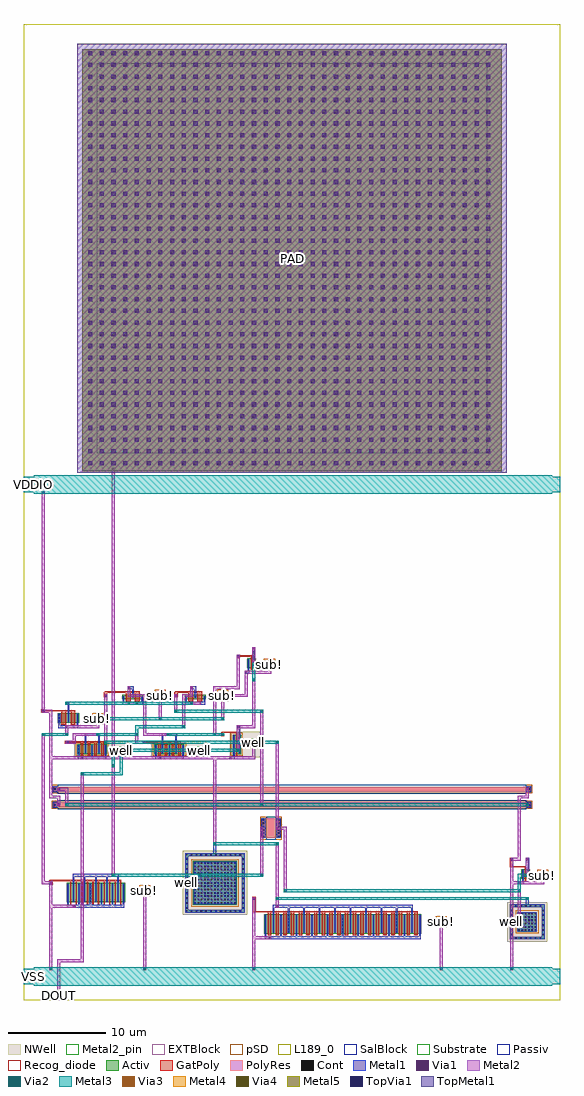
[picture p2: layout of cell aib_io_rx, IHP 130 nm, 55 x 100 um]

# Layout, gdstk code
import gdstk
lib = gdstk.Library(unit=1e-6, precision=1e-09)
def R(c, l, rs):  # rectangles x0, y0, x1, y1
    for r in rs: c.add(gdstk.rectangle(r[:2], r[2:], *l))
def A(c, l, x, y, w, h, nx, ny, dx, dy):  # array of equal rectangles
    R(c, l, [(x+i*dx, y+j*dy, x+i*dx+w, y+j*dy+h) for i in range(nx) for j in range(ny)])
Activ = (1, 0)
GatPoly = (5, 0)
Cont = (6, 0)
Metal1 = (8, 0)
Passiv = (9, 0)
Metal2 = (10, 0)
Metal2_pin = (10, 2)
pSD = (14, 0)
Via1 = (19, 0)
SalBlock = (28, 0)
Via2 = (29, 0)
Metal3 = (30, 0)
NWell = (31, 0)
Substrate = (40, 0)
Via3 = (49, 0)
Metal4 = (50, 0)
Via4 = (66, 0)
Metal5 = (67, 0)
Recog_diode = (99, 31)
EXTBlock = (111, 0)
TopVia1 = (125, 0)
TopMetal1 = (126, 0)
PolyRes = (128, 0)
L189_0 = (189, 0)

aib_io_rx = lib.new_cell('aib_io_rx')
R(aib_io_rx, Activ, [(49.8,6.2,53.4,6.5), (49.8,6.5,50.1,9.5), (53.1,6.5,53.4,9.5), (24.65,6.8,40.75,8.8), (50.6,7,52.6,9), (42.41,7.61,43.19,8.39), (16.55,8.95,22.65,9.25), (16.55,9.25,16.85,14.75), (22.35,9.25,22.65,14.75), (49.8,9.5,53.4,9.8), (17.35,9.75,21.85,14.25), (4.4,10,10.4,12), (12.01,10.81,12.79,11.59), (51,12.4,51.87,13.4), (52.81,12.41,53.59,13.19), (16.55,14.75,22.65,15.05), (5.5,25.2,8.56,26.2), (13.41,25.2,16.47,26.2), (21.41,25.2,22.28,27.2), (9.61,25.21,10.39,25.99), (17.61,25.21,18.39,25.99), (23.21,26.01,23.99,26.79), (3.5,28.4,5.68,29.4), (7.21,28.41,7.99,29.19), (10.1,30.8,12.28,31.3), (16.5,30.8,18.68,31.3), (13.61,30.81,14.39,31.59), (20.01,30.81,20.79,31.59), (22.9,34,23.77,35), (24.81,34.01,25.59,34.79)])
A(aib_io_rx, GatPoly, 25.02, 6.62, 0.35, 2.49, 20, 1, 0.79, 0)
A(aib_io_rx, GatPoly, 4.77, 9.82, 0.13, 2.49, 10, 1, 0.57, 0)
A(aib_io_rx, GatPoly, 5.87, 25.02, 0.25, 1.49, 4, 1, 0.69, 0)
A(aib_io_rx, GatPoly, 13.78, 25.02, 0.25, 1.49, 4, 1, 0.69, 0)
R(aib_io_rx, GatPoly, [(23.535,8.98,25.021,9.11), (25.02,8.98,40.38,9.11), (23.43,9.045,23.77,10.4), (23.43,10.23,23.77,10.57), (2.63,11.83,2.97,12.17), (2.63,12,2.97,12.245), (2.735,12.18,4.771,12.31), (4.77,12.18,10.03,12.31), (51.37,12.22,51.5,13.71), (49.935,13.58,51.371,13.71), (51.37,13.58,51.5,13.71), (49.83,13.645,50.17,14.4), (49.83,14.23,50.17,14.57), (24.42,16.6,26.28,18.6), (3.07,19.75,51.93,20.25), (3.07,21.35,51.93,21.85), (21.78,25.02,21.91,27.51), (4.23,26.23,4.57,26.57), (12.23,26.23,12.57,26.57), (4.335,26.38,5.871,26.51), (5.87,26.38,8.19,26.51), (12.335,26.38,13.781,26.51), (13.78,26.38,16.1,26.51), (4.23,26.4,4.57,26.445), (12.23,26.4,12.57,26.445), (20.23,27.03,20.57,27.37), (20.23,27.2,20.57,27.445), (20.335,27.38,21.781,27.51), (21.78,27.38,21.91,27.51), (3.87,28.22,4.37,29.71), (4.81,28.22,5.31,29.71), (1.83,29.43,2.17,29.77), (1.935,29.58,3.871,29.71), (3.87,29.58,5.31,29.71), (1.83,29.6,2.17,29.645), (10.47,30.62,10.97,31.61), (11.41,30.62,11.91,31.61), (16.87,30.62,17.37,31.61), (17.81,30.62,18.31,31.61), (8.23,31.03,8.57,31.37), (15.43,31.03,15.77,31.37), (8.23,31.2,8.57,31.545), (15.43,31.2,15.77,31.545), (8.335,31.48,10.471,31.61), (10.47,31.48,11.91,31.61), (15.535,31.48,16.871,31.61), (16.87,31.48,18.31,31.61), (23.27,33.82,23.4,35.31), (21.83,35.03,22.17,35.37), (21.935,35.18,23.271,35.31), (23.27,35.18,23.4,35.31), (21.83,35.2,22.17,35.245)])
A(aib_io_rx, Cont, 49.87, 6.27, 0.16, 0.16, 7, 2, 0.5, 3.3)
A(aib_io_rx, Cont, 49.87, 6.61, 0.16, 0.16, 1, 6, 0, 0.5)
A(aib_io_rx, Cont, 53.17, 6.61, 0.16, 0.16, 1, 6, 0, 0.5)
A(aib_io_rx, Cont, 24.72, 6.87, 0.16, 0.16, 21, 6, 0.79, 0.34)
A(aib_io_rx, Cont, 50.67, 7.07, 0.16, 0.16, 6, 6, 0.34, 0.34)
A(aib_io_rx, Cont, 16.62, 9.02, 0.16, 0.16, 12, 2, 0.5, 5.8)
A(aib_io_rx, Cont, 16.62, 9.36, 0.16, 0.16, 1, 11, 0, 0.5)
A(aib_io_rx, Cont, 22.42, 9.36, 0.16, 0.16, 1, 11, 0, 0.5)
A(aib_io_rx, Cont, 17.48, 9.88, 0.16, 0.16, 13, 13, 0.34, 0.34)
A(aib_io_rx, Cont, 4.47, 10.07, 0.16, 0.16, 11, 6, 0.57, 0.34)
A(aib_io_rx, Cont, 51.07, 12.48, 0.16, 0.16, 1, 3, 0, 0.34)
A(aib_io_rx, Cont, 51.64, 12.48, 0.16, 0.16, 1, 3, 0, 0.34)
A(aib_io_rx, Cont, 24.49, 16.67, 0.16, 0.16, 1, 6, 0, 0.34)
A(aib_io_rx, Cont, 26.05, 16.67, 0.16, 0.16, 1, 6, 0, 0.34)
A(aib_io_rx, Cont, 21.48, 25.27, 0.16, 0.16, 1, 6, 0, 0.34)
A(aib_io_rx, Cont, 22.05, 25.27, 0.16, 0.16, 1, 6, 0, 0.34)
A(aib_io_rx, Cont, 5.57, 25.28, 0.16, 0.16, 5, 3, 0.69, 0.34)
A(aib_io_rx, Cont, 13.48, 25.28, 0.16, 0.16, 5, 3, 0.69, 0.34)
A(aib_io_rx, Cont, 3.57, 28.48, 0.16, 0.16, 3, 3, 0.94, 0.34)
A(aib_io_rx, Cont, 10.17, 30.97, 0.16, 0.16, 3, 1, 0.94, 0)
A(aib_io_rx, Cont, 16.57, 30.97, 0.16, 0.16, 3, 1, 0.94, 0)
A(aib_io_rx, Cont, 22.97, 34.08, 0.16, 0.16, 1, 3, 0, 0.34)
A(aib_io_rx, Cont, 23.54, 34.08, 0.16, 0.16, 1, 3, 0, 0.34)
R(aib_io_rx, Cont, [(42.55,7.75,42.71,7.91), (42.89,7.75,43.05,7.91), (42.55,8.09,42.71,8.25), (42.89,8.09,43.05,8.25), (23.52,10.32,23.68,10.48), (12.15,10.95,12.31,11.11), (12.49,10.95,12.65,11.11), (12.15,11.29,12.31,11.45), (12.49,11.29,12.65,11.45), (2.72,11.92,2.88,12.08), (52.95,12.55,53.11,12.71), (53.29,12.55,53.45,12.71), (52.95,12.89,53.11,13.05), (53.29,12.89,53.45,13.05), (49.92,14.32,50.08,14.48), (3.14,19.92,3.3,20.08), (51.7,19.92,51.86,20.08), (3.14,21.52,3.3,21.68), (51.7,21.52,51.86,21.68), (9.75,25.35,9.91,25.51), (10.09,25.35,10.25,25.51), (17.75,25.35,17.91,25.51), (18.09,25.35,18.25,25.51), (9.75,25.69,9.91,25.85), (10.09,25.69,10.25,25.85), (17.75,25.69,17.91,25.85), (18.09,25.69,18.25,25.85), (23.35,26.15,23.51,26.31), (23.69,26.15,23.85,26.31), (4.32,26.32,4.48,26.48), (12.32,26.32,12.48,26.48), (23.35,26.49,23.51,26.65), (23.69,26.49,23.85,26.65), (20.32,27.12,20.48,27.28), (7.35,28.55,7.51,28.71), (7.69,28.55,7.85,28.71), (7.35,28.89,7.51,29.05), (7.69,28.89,7.85,29.05), (1.92,29.52,2.08,29.68), (13.75,30.95,13.91,31.11), (14.09,30.95,14.25,31.11), (20.15,30.95,20.31,31.11), (20.49,30.95,20.65,31.11), (8.32,31.12,8.48,31.28), (15.52,31.12,15.68,31.28), (13.75,31.29,13.91,31.45), (14.09,31.29,14.25,31.45), (20.15,31.29,20.31,31.45), (20.49,31.29,20.65,31.45), (24.95,34.15,25.11,34.31), (25.29,34.15,25.45,34.31), (24.95,34.49,25.11,34.65), (25.29,34.49,25.45,34.65), (21.92,35.12,22.08,35.28)])
A(aib_io_rx, Metal1, 24.72, 6.25, 0.16, 2.48, 11, 1, 1.58, 0)
A(aib_io_rx, Metal1, 25.51, 6.87, 0.16, 2.88, 10, 1, 1.58, 0)
A(aib_io_rx, Metal1, 4.47, 9.45, 0.16, 2.48, 6, 1, 1.14, 0)
A(aib_io_rx, Metal1, 5.04, 10.07, 0.16, 2.88, 5, 1, 1.14, 0)
A(aib_io_rx, Metal1, 5.57, 24.65, 0.16, 1.47, 3, 1, 1.38, 0)
A(aib_io_rx, Metal1, 13.48, 24.65, 0.16, 1.47, 3, 1, 1.38, 0)
R(aib_io_rx, Metal1, [(49.8,6.2,53.4,6.5), (24.72,6.25,40.68,6.55), (49.8,6.5,50.1,9.5), (53.1,6.5,53.4,9.5), (50.6,7,52.6,9), (42.55,7.75,43.05,8.25), (16.55,8.95,22.65,9.25), (16.55,9.25,16.85,14.75), (22.35,9.25,22.65,14.75), (4.47,9.45,10.33,9.75), (25.51,9.45,39.89,9.75), (49.8,9.5,53.4,9.8), (51.45,9.5,51.75,10.55), (17.41,9.81,21.79,14.19), (23.45,10.25,23.75,10.55), (12.15,10.95,12.65,11.45), (2.65,11.85,2.95,12.15), (50.65,11.85,51.23,12.15), (51.07,11.85,51.23,13.32), (51.64,12.48,51.8,14.55), (52.95,12.55,53.45,13.05), (5.04,12.65,9.76,12.95), (49.85,14.25,50.15,14.55), (51.45,14.25,51.8,14.55), (16.55,14.75,22.65,15.05), (19.45,14.75,19.75,16.15), (24.34,16.6,24.8,18.6), (25.9,16.6,26.36,18.6), (24.25,17.45,24.8,17.75), (25.85,17.45,26.36,17.75), (2.99,19.7,3.45,20.3), (51.55,19.7,52.01,20.3), (2.99,19.85,3.75,20.15), (51.45,19.85,52.01,20.15), (2.99,21.3,3.45,21.9), (51.55,21.3,52.01,21.9), (2.99,21.45,3.75,21.75), (51.45,21.45,52.01,21.75), (5.57,24.65,8.49,24.95), (13.48,24.65,16.4,24.95), (21.05,24.65,21.64,24.95), (21.48,24.65,21.64,27.13), (22.05,25.27,22.21,28.15), (6.26,25.28,6.42,27.35), (7.64,25.28,7.8,27.35), (14.17,25.28,14.33,27.35), (15.55,25.28,15.71,27.35), (9.75,25.35,10.25,25.85), (17.75,25.35,18.25,25.85), (23.35,26.15,23.85,26.65), (4.25,26.25,4.55,26.55), (12.25,26.25,12.55,26.55), (6.26,27.05,7.8,27.35), (14.17,27.05,15.71,27.35), (20.25,27.05,20.55,27.35), (3.57,27.85,3.73,29.32), (3.57,27.85,5.61,28.15), (5.45,27.85,5.61,29.32), (21.85,27.85,22.21,28.15), (4.51,28.48,4.67,30.55), (7.35,28.55,7.85,29.05), (1.85,29.45,2.15,29.75), (4.25,30.25,4.67,30.55), (10.17,30.25,12.21,30.55), (10.17,30.25,10.33,31.13), (12.05,30.25,12.21,31.13), (16.57,30.25,18.61,30.55), (16.57,30.25,16.73,31.13), (18.45,30.25,18.61,31.13), (13.75,30.95,14.25,31.45), (20.15,30.95,20.65,31.45), (11.11,30.97,11.27,32.15), (17.51,30.97,17.67,32.15), (8.25,31.05,8.55,31.35), (15.45,31.05,15.75,31.35), (10.65,31.85,11.27,32.15), (17.05,31.85,17.67,32.15), (22.65,33.45,23.13,33.75), (22.97,33.45,23.13,34.92), (23.54,34.08,23.7,36.15), (24.95,34.15,25.45,34.65), (21.85,35.05,22.15,35.35), (23.45,35.85,23.75,36.15)])
R(aib_io_rx, Passiv, [(7.5,56,47.5,96)])
A(aib_io_rx, Metal2, 3.45, 1.45, 0.3, 1.1, 1, 3, 0, 0.8)
A(aib_io_rx, Metal2, 2.65, 3.05, 0.3, 1.1, 1, 11, 0, 0.8)
A(aib_io_rx, Metal2, 12.25, 3.05, 0.3, 1.1, 1, 10, 0, 0.8)
A(aib_io_rx, Metal2, 23.45, 3.05, 0.3, 1.1, 1, 9, 0, 0.8)
A(aib_io_rx, Metal2, 42.65, 3.05, 0.3, 1.1, 1, 6, 0, 0.8)
A(aib_io_rx, Metal2, 49.85, 3.05, 0.3, 1.1, 1, 14, 0, 0.8)
A(aib_io_rx, Metal2, 3.45, 3.85, 1.1, 0.3, 3, 1, 0.8, 0)
A(aib_io_rx, Metal2, 5.85, 3.85, 0.3, 1.1, 1, 21, 0, 0.8)
A(aib_io_rx, Metal2, 50.65, 8.65, 0.3, 1.1, 1, 3, 0, 0.8)
A(aib_io_rx, Metal2, 2.65, 9.45, 1.1, 0.3, 3, 1, 0.8, 0)
A(aib_io_rx, Metal2, 25.85, 9.45, 0.3, 1.1, 1, 8, 0, 0.8)
A(aib_io_rx, Metal2, 26.65, 11.05, 0.3, 1.1, 1, 8, 0, 0.8)
A(aib_io_rx, Metal2, 1.85, 11.85, 0.3, 1.1, 1, 19, 0, 0.8)
A(aib_io_rx, Metal2, 49.85, 11.85, 1.1, 0.3, 4, 1, 0.8, 0)
A(aib_io_rx, Metal2, 9.05, 12.65, 0.3, 1.1, 1, 11, 0, 0.8)
A(aib_io_rx, Metal2, 24.25, 12.65, 0.3, 1.1, 1, 6, 0, 0.8)
A(aib_io_rx, Metal2, 50.65, 14.25, 0.3, 1.1, 1, 8, 0, 0.8)
A(aib_io_rx, Metal2, 19.45, 15.85, 0.3, 1.1, 1, 11, 0, 0.8)
A(aib_io_rx, Metal2, 25.85, 17.45, 0.3, 1.1, 1, 11, 0, 0.8)
A(aib_io_rx, Metal2, 24.25, 19.85, 0.3, 1.1, 1, 9, 0, 0.8)
A(aib_io_rx, Metal2, 2.65, 20.65, 0.3, 1.1, 3, 1, 1.6, 0)
A(aib_io_rx, Metal2, 2.65, 21.45, 0.3, 1.1, 3, 2, 3.2, 0.8)
A(aib_io_rx, Metal2, 2.65, 23.05, 0.3, 1.1, 1, 8, 0, 0.8)
A(aib_io_rx, Metal2, 2.65, 24.65, 1.1, 0.3, 26, 1, 0.8, 0)
A(aib_io_rx, Metal2, 9.05, 25.45, 0.3, 1.1, 1, 3, 0, 0.8)
A(aib_io_rx, Metal2, 4.25, 26.25, 0.3, 0.3, 3, 1, 4, 0)
A(aib_io_rx, Metal2, 5.05, 27.05, 1.1, 0.3, 3, 1, 0.8, 0)
A(aib_io_rx, Metal2, 12.25, 27.05, 1.1, 0.3, 3, 1, 0.8, 0)
A(aib_io_rx, Metal2, 12.25, 27.05, 0.3, 1.1, 1, 3, 0, 0.8)
A(aib_io_rx, Metal2, 19.45, 27.05, 0.3, 1.1, 3, 1, 2.4, 0)
A(aib_io_rx, Metal2, 4.25, 27.85, 1.1, 0.3, 4, 1, 0.8, 0)
A(aib_io_rx, Metal2, 7.45, 27.85, 0.3, 1.1, 3, 1, 0.8, 0)
A(aib_io_rx, Metal2, 16.25, 27.85, 0.3, 1.1, 1, 4, 0, 0.8)
A(aib_io_rx, Metal2, 19.45, 27.85, 0.3, 1.1, 1, 5, 0, 0.8)
A(aib_io_rx, Metal2, 23.45, 27.85, 0.3, 1.1, 1, 5, 0, 0.8)
A(aib_io_rx, Metal2, 7.45, 28.65, 0.3, 0.3, 3, 1, 6.4, 0)
A(aib_io_rx, Metal2, 8.25, 28.65, 0.3, 1.1, 1, 3, 0, 0.8)
A(aib_io_rx, Metal2, 9.05, 28.65, 0.3, 1.1, 1, 32, 0, 0.8)
A(aib_io_rx, Metal2, 20.25, 28.65, 0.3, 1.1, 1, 3, 0, 0.8)
A(aib_io_rx, Metal2, 1.85, 29.45, 0.3, 1.1, 1, 28, 0, 0.8)
A(aib_io_rx, Metal2, 12.25, 29.45, 0.3, 1.1, 3, 2, 1.6, 0.8)
A(aib_io_rx, Metal2, 20.25, 31.05, 1.1, 0.3, 3, 1, 0.8, 0)
A(aib_io_rx, Metal2, 19.45, 31.85, 1.1, 0.3, 3, 1, 0.8, 0)
A(aib_io_rx, Metal2, 21.85, 31.85, 0.3, 1.1, 3, 1, 0.8, 0)
A(aib_io_rx, Metal2, 21.85, 32.65, 0.3, 1.1, 1, 3, 0, 0.8)
A(aib_io_rx, Metal2, 23.45, 32.65, 0.3, 0.3, 1, 3, 0, 1.6)
A(aib_io_rx, Metal2, 22.65, 33.45, 1.1, 0.3, 3, 1, 0.8, 0)
R(aib_io_rx, Metal2, [(3.45,0,3.75,4.15), (2.65,3.05,2.95,3.35), (12.25,3.05,12.55,3.35), (23.45,3.05,23.75,3.35), (42.65,3.05,42.95,3.35), (49.85,3.05,50.15,3.35), (23.45,6.25,24.55,6.55), (24.25,6.25,25.35,6.55), (25.05,6.25,25.35,6.55), (42.65,7.85,42.95,8.15), (50.65,8.65,50.95,8.95), (5.05,9.45,5.35,9.75), (25.85,9.45,26.15,9.75), (23.45,10.25,23.75,10.55), (25.85,10.25,26.15,10.55), (51.45,10.25,51.75,10.55), (51.45,10.25,51.75,10.55), (12.25,11.05,12.55,11.35), (26.65,11.05,26.95,11.35), (50.65,11.05,50.95,11.35), (1.85,11.85,2.95,12.15), (2.65,11.85,2.95,12.15), (50.65,11.85,50.95,12.15), (53.05,11.85,53.35,12.95), (9.05,12.65,9.35,12.95), (9.05,12.65,9.35,12.95), (17.85,12.65,18.15,12.95), (17.85,12.65,18.15,12.95), (24.25,12.65,24.55,12.95), (51.45,12.65,51.75,12.95), (51.45,12.65,51.75,13.75), (53.05,12.65,53.35,12.95), (51.45,13.45,51.75,14.55), (49.85,14.25,50.95,14.55), (49.85,14.25,50.15,14.55), (51.45,14.25,51.75,14.55), (19.45,15.85,19.75,16.15), (19.45,15.85,19.75,16.15), (25.85,15.85,26.15,16.15), (24.25,17.45,24.55,17.75), (25.85,17.45,26.95,17.75), (25.85,17.45,26.15,17.75), (3.45,19.85,3.75,20.15), (3.45,19.85,3.75,20.95), (4.25,19.85,4.55,20.15), (4.25,19.85,4.55,20.95), (24.25,19.85,24.55,20.15), (51.45,19.85,51.75,20.15), (51.45,19.85,51.75,20.15), (2.65,20.65,3.75,20.95), (50.65,20.65,51.75,20.95), (51.45,20.65,51.75,21.75), (3.45,21.45,4.55,21.75), (3.45,21.45,3.75,21.75), (51.45,21.45,51.75,21.75), (5.85,23.05,6.15,23.35), (9.05,23.05,9.35,24.15), (9.05,23.85,9.35,24.15), (5.85,24.65,6.15,24.95), (9.85,24.65,10.15,25.75), (13.85,24.65,14.15,24.95), (17.85,24.65,18.15,25.75), (21.05,24.65,21.35,24.95), (23.45,24.65,23.75,25.75), (9.05,25.45,9.35,25.75), (9.85,25.45,10.15,25.75), (17.85,25.45,18.15,25.75), (21.85,25.45,22.15,25.75), (21.85,25.45,22.15,26.55), (23.45,25.45,23.75,26.55), (4.25,26.25,5.35,26.55), (5.05,26.25,5.35,27.35), (8.25,26.25,8.55,27.35), (11.45,26.25,12.55,26.55), (11.45,26.25,11.75,27.35), (21.85,26.25,22.15,27.35), (23.45,26.25,23.75,26.55), (25.85,26.25,26.15,26.55), (1.85,27.05,2.15,27.35), (4.25,27.05,4.55,27.35), (4.25,27.05,4.55,28.15), (7.45,27.05,7.75,27.35), (7.45,27.05,7.75,27.35), (8.25,27.05,8.55,28.15), (11.45,27.05,11.75,27.35), (14.65,27.05,14.95,27.35), (14.65,27.05,14.95,27.35), (19.45,27.05,20.55,27.35), (19.45,27.05,19.75,27.35), (20.25,27.05,20.55,27.35), (20.25,27.05,20.55,27.35), (4.25,27.85,4.55,28.15), (16.25,27.85,16.55,28.15), (21.85,27.85,22.95,28.15), (21.85,27.85,22.15,28.15), (22.65,27.85,23.75,28.15), (24.25,27.85,24.55,28.95), (7.45,28.65,7.75,28.95), (13.85,28.65,14.15,29.75), (24.25,28.65,24.55,29.75), (1.85,29.45,2.95,29.75), (1.85,29.45,2.15,29.75), (15.45,29.45,15.75,29.75), (24.25,29.45,24.55,29.75), (4.25,30.25,4.55,30.55), (4.25,30.25,4.55,30.55), (10.65,30.25,11.75,30.55), (10.65,30.25,10.95,30.55), (10.65,30.25,10.95,30.55), (11.45,30.25,11.75,30.55), (17.05,30.25,18.15,30.55), (17.05,30.25,17.35,30.55), (17.05,30.25,17.35,30.55), (8.25,31.05,8.55,31.35), (10.65,31.05,11.75,31.35), (10.65,31.05,10.95,32.15), (11.45,31.05,12.55,31.35), (13.85,31.05,14.15,31.35), (15.45,31.05,15.75,31.35), (16.25,31.05,17.35,31.35), (17.05,31.05,17.35,32.15), (20.25,31.05,20.55,31.35), (22.65,31.05,22.95,32.15), (10.65,31.85,10.95,32.15), (17.05,31.85,17.35,32.15), (22.65,32.65,22.95,33.75), (22.65,33.45,22.95,33.75), (25.05,33.45,25.35,34.55), (23.45,34.25,23.75,35.35), (25.05,34.25,25.35,34.55), (21.85,35.05,22.15,35.35), (23.45,35.05,23.75,36.15), (1.85,51.85,2.15,52.15), (9.05,54.25,9.35,54.55)])
R(aib_io_rx, Metal2_pin, [(3.45,0,3.75,1)])
R(aib_io_rx, pSD, [(50.42,6.82,52.78,9.18), (42.23,7.43,43.37,8.57), (17.17,9.57,22.03,14.43), (11.83,10.63,12.97,11.77), (52.63,12.23,53.77,13.37), (24.24,16.42,26.46,18.78), (2.89,19.57,52.11,20.43), (2.89,21.17,52.11,22.03), (5.32,25.02,8.74,26.38), (13.23,25.02,16.65,26.38), (21.23,25.02,22.46,27.38), (7.03,28.23,8.17,29.37), (13.43,30.63,14.57,31.77), (19.83,30.63,20.97,31.77), (24.63,33.83,25.77,34.97)])
A(aib_io_rx, Via1, 4.305, 30.305, 0.19, 0.19, 3, 1, 6.4, 0)
R(aib_io_rx, Via1, [(25.105,6.305,25.295,6.495), (42.705,7.905,42.895,8.095), (50.705,8.705,50.895,8.895), (5.105,9.505,5.295,9.695), (25.905,9.505,26.095,9.695), (23.505,10.305,23.695,10.495), (51.505,10.305,51.695,10.495), (12.305,11.105,12.495,11.295), (2.705,11.905,2.895,12.095), (50.705,11.905,50.895,12.095), (9.105,12.705,9.295,12.895), (17.905,12.705,18.095,12.895), (53.105,12.705,53.295,12.895), (49.905,14.305,50.095,14.495), (51.505,14.305,51.695,14.495), (19.505,15.905,19.695,16.095), (24.305,17.505,24.495,17.695), (25.905,17.505,26.095,17.695), (3.505,19.905,3.695,20.095), (51.505,19.905,51.695,20.095), (3.505,21.505,3.695,21.695), (51.505,21.505,51.695,21.695), (5.905,24.705,6.095,24.895), (13.905,24.705,14.095,24.895), (21.105,24.705,21.295,24.895), (9.905,25.505,10.095,25.695), (17.905,25.505,18.095,25.695), (4.305,26.305,4.495,26.495), (12.305,26.305,12.495,26.495), (23.505,26.305,23.695,26.495), (7.505,27.105,7.695,27.295), (14.705,27.105,14.895,27.295), (20.305,27.105,20.495,27.295), (4.305,27.905,4.495,28.095), (21.905,27.905,22.095,28.095), (7.505,28.705,7.695,28.895), (1.905,29.505,2.095,29.695), (8.305,31.105,8.495,31.295), (13.905,31.105,14.095,31.295), (15.505,31.105,15.695,31.295), (20.305,31.105,20.495,31.295), (10.705,31.905,10.895,32.095), (17.105,31.905,17.295,32.095), (22.705,33.505,22.895,33.695), (25.105,34.305,25.295,34.495), (21.905,35.105,22.095,35.295), (23.505,35.905,23.695,36.095)])
R(aib_io_rx, SalBlock, [(24.85,16.4,25.85,18.8), (3.5,19.55,51.5,20.45), (3.5,21.15,51.5,22.05)])
A(aib_io_rx, Via2, 7.505, 28.705, 0.19, 0.19, 3, 1, 6.4, 0)
R(aib_io_rx, Via2, [(2.705,3.105,2.895,3.295), (12.305,3.105,12.495,3.295), (23.505,3.105,23.695,3.295), (42.705,3.105,42.895,3.295), (49.905,3.105,50.095,3.295), (25.905,10.305,26.095,10.495), (51.505,10.305,51.695,10.495), (26.705,11.105,26.895,11.295), (50.705,11.105,50.895,11.295), (9.105,12.705,9.295,12.895), (17.905,12.705,18.095,12.895), (24.305,12.705,24.495,12.895), (51.505,12.705,51.695,12.895), (19.505,15.905,19.695,16.095), (25.905,15.905,26.095,16.095), (4.305,19.905,4.495,20.095), (24.305,19.905,24.495,20.095), (51.505,19.905,51.695,20.095), (5.905,23.105,6.095,23.295), (9.105,23.905,9.295,24.095), (9.105,25.505,9.295,25.695), (21.905,25.505,22.095,25.695), (8.305,26.305,8.495,26.495), (25.905,26.305,26.095,26.495), (1.905,27.105,2.095,27.295), (4.305,27.105,4.495,27.295), (7.505,27.105,7.695,27.295), (11.505,27.105,11.695,27.295), (14.705,27.105,14.895,27.295), (19.505,27.105,19.695,27.295), (20.305,27.105,20.495,27.295), (16.305,27.905,16.495,28.095), (15.505,29.505,15.695,29.695), (24.305,29.505,24.495,29.695), (4.305,30.305,4.495,30.495), (10.705,30.305,10.895,30.495), (11.505,30.305,11.695,30.495), (17.105,30.305,17.295,30.495), (23.505,32.705,23.695,32.895), (23.505,34.305,23.695,34.495), (1.905,51.905,2.095,52.095), (9.105,54.305,9.295,54.495)])
A(aib_io_rx, Metal3, 1.05, 1.45, 1.1, 0.3, 66, 3, 0.8, 0.8)
A(aib_io_rx, Metal3, 1.05, 1.45, 0.3, 1.1, 67, 2, 0.8, 0.8)
A(aib_io_rx, Metal3, 25.85, 10.25, 1.1, 0.3, 32, 1, 0.8, 0)
A(aib_io_rx, Metal3, 26.65, 11.05, 1.1, 0.3, 30, 1, 0.8, 0)
A(aib_io_rx, Metal3, 9.05, 12.65, 1.1, 0.3, 19, 1, 0.8, 0)
A(aib_io_rx, Metal3, 19.45, 15.85, 1.1, 0.3, 8, 1, 0.8, 0)
A(aib_io_rx, Metal3, 4.25, 19.85, 1.1, 0.3, 59, 1, 0.8, 0)
A(aib_io_rx, Metal3, 5.85, 23.05, 1.1, 0.3, 5, 1, 0.8, 0)
A(aib_io_rx, Metal3, 9.85, 23.05, 0.3, 1.1, 1, 3, 0, 0.8)
A(aib_io_rx, Metal3, 9.85, 25.45, 1.1, 0.3, 15, 1, 0.8, 0)
A(aib_io_rx, Metal3, 8.25, 26.25, 1.1, 0.3, 22, 1, 0.8, 0)
A(aib_io_rx, Metal3, 1.85, 27.05, 1.1, 0.3, 3, 1, 0.8, 0)
A(aib_io_rx, Metal3, 7.45, 27.05, 1.1, 0.3, 5, 1, 0.8, 0)
A(aib_io_rx, Metal3, 14.65, 27.05, 1.1, 0.3, 7, 1, 0.8, 0)
A(aib_io_rx, Metal3, 11.45, 27.85, 1.1, 0.3, 6, 1, 0.8, 0)
A(aib_io_rx, Metal3, 7.45, 28.65, 1.1, 0.3, 16, 1, 0.8, 0)
A(aib_io_rx, Metal3, 7.45, 28.65, 0.3, 0.3, 3, 1, 6.4, 0)
A(aib_io_rx, Metal3, 15.45, 29.45, 1.1, 0.3, 11, 1, 0.8, 0)
A(aib_io_rx, Metal3, 4.25, 30.25, 1.1, 0.3, 16, 1, 0.8, 0)
A(aib_io_rx, Metal3, 1.05, 51.85, 1.1, 0.3, 66, 3, 0.8, 0.8)
A(aib_io_rx, Metal3, 1.05, 51.85, 0.3, 1.1, 67, 2, 0.8, 0.8)
A(aib_io_rx, Metal3, 6.65, 54.25, 1.1, 0.3, 52, 1, 0.8, 0)
R(aib_io_rx, Metal3, [(0,1.6,55,3.2), (2.65,3.05,2.95,3.35), (12.25,3.05,12.55,3.35), (23.45,3.05,23.75,3.35), (42.65,3.05,42.95,3.35), (49.85,3.05,50.15,3.35), (25.85,10.25,26.15,10.55), (51.45,10.25,51.75,10.55), (26.65,11.05,26.95,11.35), (50.65,11.05,50.95,12.15), (50.65,11.05,50.95,11.35), (50.65,11.85,50.95,12.95), (9.05,12.65,9.35,12.95), (17.85,12.65,18.15,12.95), (24.25,12.65,24.55,12.95), (50.65,12.65,51.75,12.95), (51.45,12.65,51.75,12.95), (19.45,15.85,19.75,16.15), (25.85,15.85,26.15,16.15), (4.25,19.85,4.55,20.15), (24.25,19.85,24.55,20.15), (51.45,19.85,51.75,20.15), (5.85,23.05,6.15,23.35), (9.05,23.85,9.35,24.95), (9.05,23.85,9.35,24.15), (9.05,24.65,9.35,25.75), (9.05,25.45,9.35,25.75), (21.85,25.45,22.15,25.75), (8.25,26.25,8.55,26.55), (25.85,26.25,26.15,26.55), (1.85,27.05,2.15,27.35), (4.25,27.05,4.55,27.35), (7.45,27.05,7.75,27.35), (11.45,27.05,11.75,28.15), (11.45,27.05,11.75,27.35), (14.65,27.05,14.95,27.35), (19.45,27.05,19.75,27.35), (20.25,27.05,20.55,27.35), (16.25,27.85,16.55,28.15), (15.45,29.45,15.75,29.75), (24.25,29.45,24.55,29.75), (4.25,30.25,4.55,30.55), (10.65,30.25,10.95,30.55), (11.45,30.25,11.75,30.55), (17.05,30.25,17.35,30.55), (23.45,32.65,23.75,33.75), (23.45,32.65,23.75,32.95), (23.45,33.45,23.75,34.55), (23.45,34.25,23.75,34.55), (1.85,51.85,2.15,52.15), (0,52,55,53.6), (6,54.2,49,97.4), (9.05,54.25,9.35,54.55)])
R(aib_io_rx, NWell, [(49.56,5.96,53.64,10.04), (16.31,8.71,22.89,15.29), (5.19,24.89,10.7,26.51), (13.1,24.89,18.7,26.51), (21.1,24.89,24.3,27.51)])
R(aib_io_rx, Substrate, [(42.41,7.61,43.19,8.39), (12.01,10.81,12.79,11.59), (52.81,12.41,53.59,13.19), (7.21,28.41,7.99,29.19), (13.61,30.81,14.39,31.59), (20.01,30.81,20.79,31.59), (24.81,34.01,25.59,34.79)])
A(aib_io_rx, Via3, 6.6, 54.8, 0.19, 0.19, 35, 36, 1.2, 1.2)
R(aib_io_rx, Metal4, [(6,54.2,49,97.4)])
A(aib_io_rx, Via4, 6.6, 54.8, 0.19, 0.19, 35, 36, 1.2, 1.2)
R(aib_io_rx, Metal5, [(6,54.2,49,97.4)])
R(aib_io_rx, Recog_diode, [(50.6,7,52.6,9), (17.35,9.75,21.85,14.25)])
R(aib_io_rx, EXTBlock, [(24.24,16.42,26.46,18.78), (2.89,19.57,52.11,20.43), (2.89,21.17,52.11,22.03)])
A(aib_io_rx, TopVia1, 6.6, 54.8, 0.42, 0.42, 35, 36, 1.2, 1.2)
R(aib_io_rx, TopMetal1, [(5.5,54,49.5,98)])
R(aib_io_rx, PolyRes, [(24.85,16.6,25.85,18.6), (3.5,19.75,51.5,20.25), (3.5,21.35,51.5,21.85)])
R(aib_io_rx, L189_0, [(0,0,55,100)])
aib_io_rx.add(gdstk.Label('VSS', (1,2.4), layer=30, texttype=1))
aib_io_rx.add(gdstk.Label('VDDIO', (1,52.8), layer=30, texttype=1))
aib_io_rx.add(gdstk.Label('PAD', (27.5,76), layer=126, texttype=1))
aib_io_rx.add(gdstk.Label('sub!', (12.4,11.2), layer=63, texttype=0))
aib_io_rx.add(gdstk.Label('well', (16.7,12), layer=63, texttype=0))
aib_io_rx.add(gdstk.Label('sub!', (42.8,8), layer=63, texttype=0))
aib_io_rx.add(gdstk.Label('well', (49.95,8), layer=63, texttype=0))
aib_io_rx.add(gdstk.Label('sub!', (53.2,12.8), layer=63, texttype=0))
aib_io_rx.add(gdstk.Label('well', (10,25.6), layer=63, texttype=0))
aib_io_rx.add(gdstk.Label('well', (18,25.6), layer=63, texttype=0))
aib_io_rx.add(gdstk.Label('well', (23.6,26.4), layer=63, texttype=0))
aib_io_rx.add(gdstk.Label('sub!', (7.6,28.8), layer=63, texttype=0))
aib_io_rx.add(gdstk.Label('sub!', (14,31.2), layer=63, texttype=0))
aib_io_rx.add(gdstk.Label('sub!', (20.4,31.2), layer=63, texttype=0))
aib_io_rx.add(gdstk.Label('sub!', (25.2,34.4), layer=63, texttype=0))
aib_io_rx.add(gdstk.Label('DOUT', (3.6,0.5), layer=10, texttype=1))

lib.write_gds('aib_io_rx.gds')
